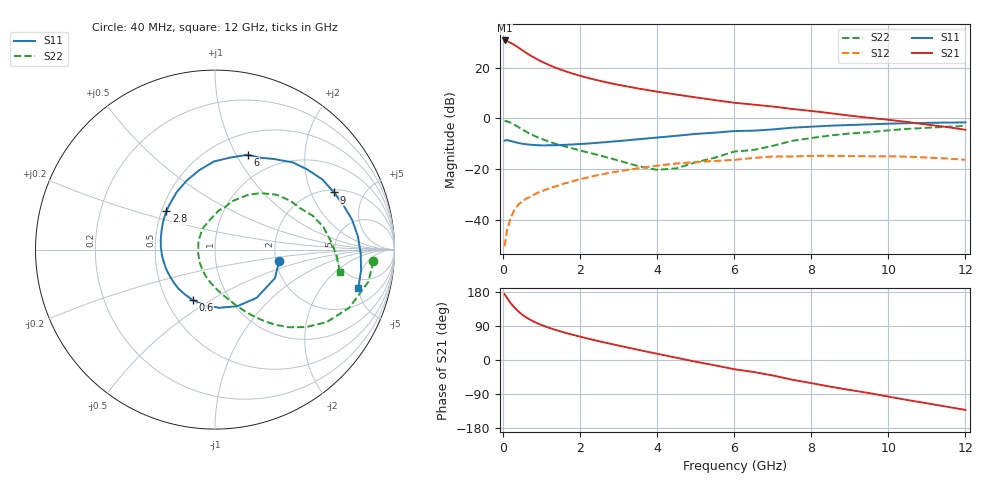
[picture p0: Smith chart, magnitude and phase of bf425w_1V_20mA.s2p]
! Filename: 120bf425.001
! BFG425W Field C1
! V1=8.742E-001V,V2=1.000E+000V, I1=3.055E-004A, I2=2.001E-002A
# GHz  S  MA  R 50
!  S11  S21  S12  S22
!Freq(GHz)  Mag  Ang  Mag  Ang  Mag  Ang  Mag  Ang
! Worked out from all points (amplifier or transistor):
!   44 points, 40 MHz to 12 GHz, reference 50 ohm
!   highest |S21| = 30.7 dB at 40 MHz (marker M1)
!   |S21| within 3 dB of that: start of sweep to 416.6 MHz
!   unconditionally stable (mu >= 1): 1.182 GHz to end of sweep
!   at 700 MHz: K = 0.80, MSG = 28.0 dB, |S12| = -31.1 dB
!   at 2.4 GHz: K = 1.17, MAG = 16.4 dB, |S12| = -22.6 dB
!   at 12 GHz: K = 1.36, MAG = 2.3 dB, |S12| = -16.4 dB
!   S11 on the Smith chart (normalised r, x): 40 MHz: 2.09, -0.30; 600 MHz: 0.68, -0.42; 2.8 GHz: 0.53, +0.26; 6 GHz: 0.72, +1.11; 9 GHz: 2.13, +2.97; 12 GHz: 3.69, -4.97
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0.04  0.363 -9.8  34.24 173.6  0.003 77.3  0.885 -4.2
0.1  0.37 -25.4  33.3 164.4  0.006 81.2  0.873 -11.9
0.2  0.355 -49.3  30.68 149.9  0.011 73.3  0.815 -23.5
0.3  0.339 -68.5  27.79 138.1  0.016 68.4  0.742 -32.9
0.4  0.325 -86.0  24.72 128.0  0.02 64.2  0.667 -40.3
0.5  0.315 -101.3  21.95 119.4  0.023 61.3  0.6 -46.1
0.6  0.307 -113.6  19.55 112.4  0.026 59.7  0.543 -50.8
0.7  0.301 -123.9  17.52 106.5  0.028 58.1  0.494 -54.6
0.8  0.298 -133.1  15.81 101.2  0.031 57.3  0.454 -57.8
0.9  0.294 -141.0  14.38 96.5  0.034 56.4  0.42 -60.6
1.1  0.292 -154.2  12.09 88.4  0.039 54.8  0.367 -65.5
1.5  0.297 -174.4  9.098 75.2  0.049 51.8  0.293 -74.1
2.2  0.317 159.6  6.26 56.6  0.068 44.7  0.212 -89.9
2.8  0.345 141.7  4.898 42.5  0.085 37.1  0.161 -107.2
3.5  0.385 123.7  3.873 27.0  0.103 27.1  0.114 -137.6
4.5  0.451 101.2  2.934 6.0  0.128 11.5  0.103 153.0
6  0.559 71.1  2.024 -24.4  0.151 -13.3  0.22 84.3
6.5  0.569 64.3  1.857 -31.6  0.165 -17.4  0.237 77.8
8.5  0.714 33.3  1.258 -70.5  0.182 -53.4  0.459 41.8
9  0.736 25.7  1.126 -79.0  0.179 -61.3  0.5 32.9
10.5  0.799 5.5  0.843 -105.7  0.175 -86.8  0.617 11.8
12  0.827 -14.9  0.593 -131.7  0.152 -114.6  0.707 -10.2
